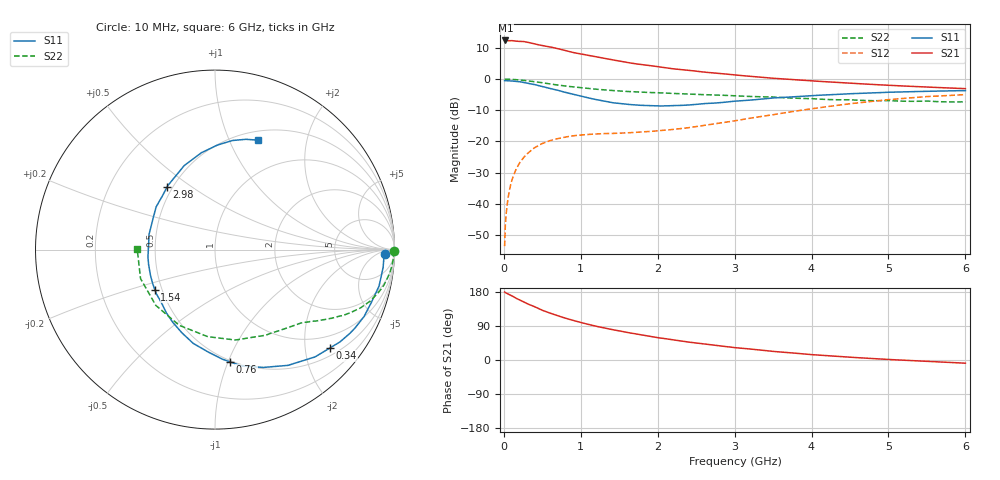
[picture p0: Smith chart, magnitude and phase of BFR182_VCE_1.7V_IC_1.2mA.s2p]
! Infineon Technologies  Discrete & RF Semiconductors
! BFR182
! VCE =  1.7 V,  IC =  1.2 mA
! Common Emitter S-Parameters:  Nov 2015
# GHz  S  MA  R  50
!  f  S11  S21  S12  S22
! GHz  MAG  ANG  MAG  ANG  MAG  ANG  MAG  ANG
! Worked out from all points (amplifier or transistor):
!   210 points, 10 MHz to 6 GHz, reference 50 ohm
!   highest |S21| = 12.4 dB at 20 MHz (marker M1)
!   |S21| within 3 dB of that: start of sweep to 762.4 MHz
!   unconditionally stable (mu >= 1): 1.656 GHz to 3.274 GHz
!   at 185 MHz: K = 0.13, MSG = 19.9 dB, |S12| = -27.7 dB
!   at 1.52 GHz: K = 0.93, MSG = 11.5 dB, |S12| = -17.3 dB
!   at 6 GHz: K = 0.94, MSG = 1.0 dB, |S12| = -5.0 dB
!   S11 on the Smith chart (normalised r, x): 10 MHz: 30, -13; 340 MHz: 0.67, -2.55; 760 MHz: 0.49, -1.02; 1.54 GHz: 0.46, -0.24; 2.98 GHz: 0.47, +0.40; 6 GHz: 0.60, +1.28
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0.01  0.9448 -1.4  4.16 179.3  0.0021 85.7  0.9978 -0.5
0.02  0.9424 -2.3  4.164 177.9  0.0046 84.5  0.9933 -1.0
0.035  0.9416 -4.2  4.141 176.4  0.0079 85.5  0.9944 -1.8
0.055  0.9408 -6.7  4.122 174.4  0.0124 85.4  0.9951 -2.8
0.11  0.9325 -13.6  4.129 168.7  0.0251 81.9  0.9885 -5.6
0.15  0.9207 -18.2  4.072 163.8  0.0338 78.4  0.9822 -7.7
0.26  0.8852 -31.7  3.999 152.7  0.0558 71.0  0.9556 -12.8
0.34  0.8431 -40.5  3.813 145.6  0.0695 66.1  0.9291 -16.1
0.5  0.7629 -57.7  3.45 131.2  0.0928 57.6  0.8749 -21.7
0.6  0.7092 -67.8  3.289 123.7  0.1032 53.2  0.8372 -24.6
0.76  0.6312 -82.4  2.953 112.9  0.1152 47.5  0.7857 -28.2
0.9  0.5729 -93.6  2.671 104.4  0.1235 44.0  0.7509 -30.7
1.02  0.5281 -104.7  2.506 97.9  0.1276 41.9  0.7234 -32.6
1.2  0.4697 -119.8  2.277 89.0  0.1318 39.8  0.689 -35.3
1.54  0.4024 -146.4  1.912 75.3  0.1367 40.1  0.6402 -39.3
2.02  0.3712 177.9  1.571 58.5  0.1494 44.5  0.6022 -45.4
2.4  0.3846 154.5  1.387 47.3  0.1663 49.7  0.5763 -51.6
2.98  0.4398 127.4  1.174 33.2  0.2123 54.4  0.5413 -63.2
3.1  0.4506 123.0  1.137 30.9  0.2251 54.5  0.5329 -66.2
4.1  0.5513 96.0  0.921 12.9  0.3479 49.7  0.4779 -98.7
5.1  0.6195 79.5  0.785 0.4  0.4792 36.0  0.4464 -141.0
6  0.6551 68.6  0.704 -8.4  0.5648 20.4  0.4333 179.7
